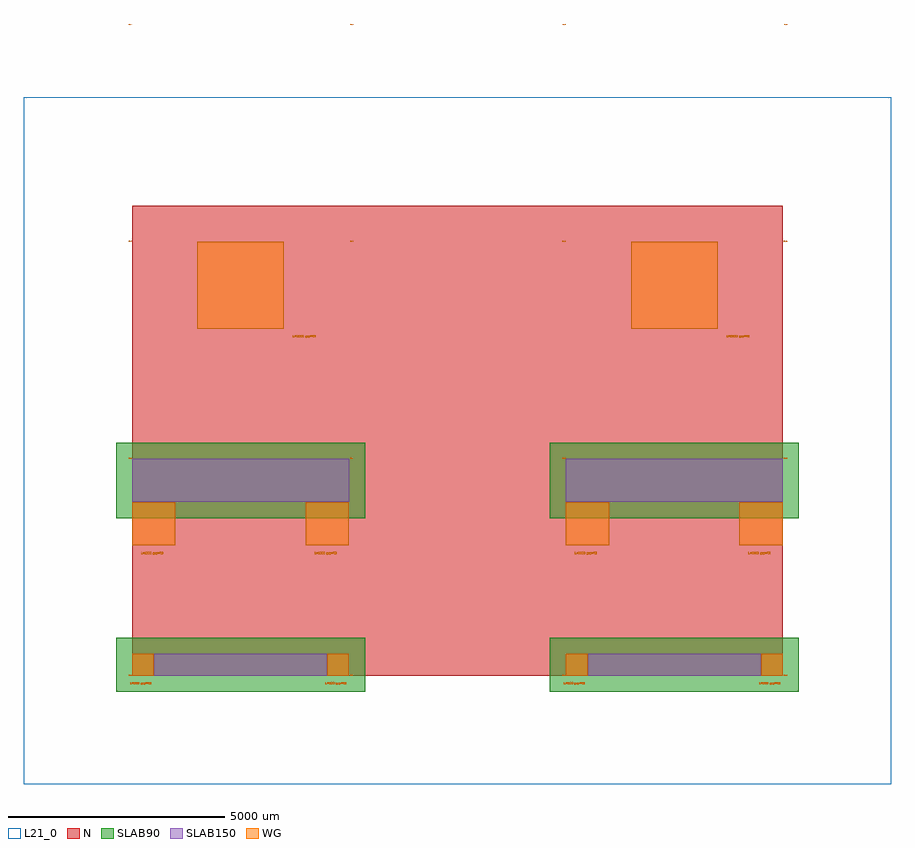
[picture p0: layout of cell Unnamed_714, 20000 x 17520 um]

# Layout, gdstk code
import gdstk
lib = gdstk.Library(unit=1e-6, precision=1e-09)
def R(c, l, rs):  # rectangles x0, y0, x1, y1
    for r in rs: c.add(gdstk.rectangle(r[:2], r[2:], *l))
def A(c, l, x, y, w, h, nx, ny, dx, dy):  # array of equal rectangles
    R(c, l, [(x+i*dx, y+j*dy, x+i*dx+w, y+j*dy+h) for i in range(nx) for j in range(ny)])
def P(c, l, *ps):  # polygons
    for p in ps: c.add(gdstk.Polygon(p, *l))
WG = (1, 0)
SLAB150 = (2, 0)
SLAB90 = (3, 0)
N = (20, 0)
L21_0 = (21, 0)

rectangle_s15000_10830__ = lib.new_cell('rectangle_S15000_10830__cd2686a7')
R(rectangle_s15000_10830__, N, [(0,0,15000,10830)])

rectangle_s20000_15830__ = lib.new_cell('rectangle_S20000_15830__41eada1f')
R(rectangle_s20000_15830__, L21_0, [(0,0,20000,15830)])

text_tdml_4_s20_p0_0_jle = lib.new_cell('text_TDML_4_S20_P0_0_Jleft_L1_0')
P(text_tdml_4_s20_p0_0_jle, WG, [(36,0),(36,20),(40,20),(40,4),(50,4),(50,0)],
  [(70,0),(70,6),(62,6),(62,20),(66,20),(66,10),(70,10),(70,20),(74,20),(74,10),(76,10),(76,6),(74,6),(74,0)],
  [(18,0),(18,20),(22,20),(26,14),(30,20),(34,20),(34,0),(30,0),(30,12),(26,6),(22,12),(22,0)],
  [(2,0),(2,8),(6,8),(6,4),(10,4),(12,6),(12,14),(10,16),(6,16),(6,12),(2,12),(2,20),(12,20),(16,16),(16,4),(12,0)])

unnamed_729 = lib.new_cell('Unnamed_729')
unnamed_729.add(gdstk.Reference(text_tdml_4_s20_p0_0_jle, (-85,0)))
unnamed_729.add(gdstk.Reference(text_tdml_4_s20_p0_0_jle, (5020,0)))
unnamed_729.add(gdstk.Reference(text_tdml_4_s20_p0_0_jle, (-85,5000)))
unnamed_729.add(gdstk.Reference(text_tdml_4_s20_p0_0_jle, (5020,5000)))

text_tdml_3_s20_p0_0_jle = lib.new_cell('text_TDML_3_S20_P0_0_Jleft_L1_0')
P(text_tdml_3_s20_p0_0_jle, WG, [(36,0),(36,20),(40,20),(40,4),(50,4),(50,0)],
  [(66,0),(62,4),(62,6),(66,6),(68,4),(70,4),(72,6),(70,8),(70,12),(72,14),(70,16),(68,16),(66,14),(62,14),(62,16),(66,20),(72,20),(76,16),(76,12),(74,10),(76,8),(76,4),(72,0)],
  [(18,0),(18,20),(22,20),(26,14),(30,20),(34,20),(34,0),(30,0),(30,12),(26,6),(22,12),(22,0)],
  [(2,0),(2,8),(6,8),(6,4),(10,4),(12,6),(12,14),(10,16),(6,16),(6,12),(2,12),(2,20),(12,20),(16,16),(16,4),(12,0)])

unnamed_728 = lib.new_cell('Unnamed_728')
unnamed_728.add(gdstk.Reference(text_tdml_3_s20_p0_0_jle, (-85,0)))
unnamed_728.add(gdstk.Reference(text_tdml_3_s20_p0_0_jle, (5020,0)))
unnamed_728.add(gdstk.Reference(text_tdml_3_s20_p0_0_jle, (-85,5000)))
unnamed_728.add(gdstk.Reference(text_tdml_3_s20_p0_0_jle, (5020,5000)))

text_tdml_2_s20_p0_0_jle = lib.new_cell('text_TDML_2_S20_P0_0_Jleft_L1_0')
P(text_tdml_2_s20_p0_0_jle, WG, [(36,0),(36,20),(40,20),(40,4),(50,4),(50,0)],
  [(18,0),(18,20),(22,20),(26,14),(30,20),(34,20),(34,0),(30,0),(30,12),(26,6),(22,12),(22,0)],
  [(62,0),(62,4),(72,14),(72,16),(66,16),(66,14),(62,14),(62,18),(64,20),(74,20),(76,18),(76,12),(68,4),(76,4),(76,0)],
  [(2,0),(2,8),(6,8),(6,4),(10,4),(12,6),(12,14),(10,16),(6,16),(6,12),(2,12),(2,20),(12,20),(16,16),(16,4),(12,0)])

unnamed_727 = lib.new_cell('Unnamed_727')
unnamed_727.add(gdstk.Reference(text_tdml_2_s20_p0_0_jle, (-85,0)))
unnamed_727.add(gdstk.Reference(text_tdml_2_s20_p0_0_jle, (5020,0)))
unnamed_727.add(gdstk.Reference(text_tdml_2_s20_p0_0_jle, (-85,5000)))
unnamed_727.add(gdstk.Reference(text_tdml_2_s20_p0_0_jle, (5020,5000)))

text_tdml_1_s20_p0_0_jle = lib.new_cell('text_TDML_1_S20_P0_0_Jleft_L1_0')
P(text_tdml_1_s20_p0_0_jle, WG, [(62,0),(62,4),(64,4),(64,12),(62,12),(62,16),(66,20),(68,20),(68,4),(70,4),(70,0)],
  [(36,0),(36,20),(40,20),(40,4),(50,4),(50,0)],
  [(18,0),(18,20),(22,20),(26,14),(30,20),(34,20),(34,0),(30,0),(30,12),(26,6),(22,12),(22,0)],
  [(2,0),(2,8),(6,8),(6,4),(10,4),(12,6),(12,14),(10,16),(6,16),(6,12),(2,12),(2,20),(12,20),(16,16),(16,4),(12,0)])

unnamed_726 = lib.new_cell('Unnamed_726')
unnamed_726.add(gdstk.Reference(text_tdml_1_s20_p0_0_jle, (-85,0)))
unnamed_726.add(gdstk.Reference(text_tdml_1_s20_p0_0_jle, (5020,0)))
unnamed_726.add(gdstk.Reference(text_tdml_1_s20_p0_0_jle, (-85,5000)))
unnamed_726.add(gdstk.Reference(text_tdml_1_s20_p0_0_jle, (5020,5000)))

unnamed_725 = lib.new_cell('Unnamed_725')
unnamed_725.add(gdstk.Reference(unnamed_729, (10000,10000)))
unnamed_725.add(gdstk.Reference(unnamed_728, (0,10000)))
unnamed_725.add(gdstk.Reference(unnamed_727, (10000,0)))
unnamed_725.add(gdstk.Reference(unnamed_726, (0,0)))

rectangle_s5743p44_1741_ = lib.new_cell('rectangle_S5743p44_1741_03ee2668')
R(rectangle_s5743p44_1741_, SLAB90, [(0,0,5743.44,1741.44)])

rectangle_s5743p44_1241_ = lib.new_cell('rectangle_S5743p44_1241_c6762c0d')
R(rectangle_s5743p44_1241_, SLAB90, [(0,0,5743.44,1241.44)])

unnamed_723 = lib.new_cell('Unnamed_723')
unnamed_723.add(gdstk.Reference(rectangle_s5743p44_1741_, (0,4002)))
unnamed_723.add(gdstk.Reference(rectangle_s5743p44_1241_, (0,0)))

unnamed_722 = lib.new_cell('Unnamed_722')
unnamed_722.add(gdstk.Reference(rectangle_s5743p44_1741_, (0,4002)))
unnamed_722.add(gdstk.Reference(rectangle_s5743p44_1241_, (0,0)))

unnamed_721 = lib.new_cell('Unnamed_721')
unnamed_721.add(gdstk.Reference(unnamed_723, (9628.28,-371.72)))
unnamed_721.add(gdstk.Reference(unnamed_722, (-371.72,-371.72)))

unnamed_732 = lib.new_cell('Unnamed_732')
R(unnamed_732, WG, [(-5,-190,35,-180), (315,-190,355,-180), (4495,-190,4535,-180), (4815,-190,4855,-180), (9995,-190,10035,-180), (10315,-190,10355,-180), (14495,-190,14535,-180), (14815,-190,14855,-180), (-5,-170,35,-160), (315,-170,355,-160), (4495,-170,4535,-160), (4815,-170,4855,-160), (9995,-170,10035,-160), (10315,-170,10355,-160), (14495,-170,14535,-160), (14815,-170,14855,-160), (245,2812,285,2822), (595,2812,635,2822), (4245,2812,4285,2822), (4595,2812,4635,2822), (10245,2812,10285,2822), (10595,2812,10635,2822), (14245,2812,14285,2822), (14595,2812,14635,2822), (245,2832,285,2842), (595,2832,635,2842), (4245,2832,4285,2842), (4595,2832,4635,2842), (10245,2832,10285,2842), (10595,2832,10635,2842), (14245,2832,14285,2842), (14595,2832,14635,2842), (3745,7810,3785,7820), (4110,7810,4150,7820), (13745,7810,13785,7820), (14110,7810,14150,7820), (3745,7830,3785,7840), (4110,7830,4150,7840), (13745,7830,13785,7840), (14110,7830,14150,7840)])
P(unnamed_732, WG, [(45,-200),(40,-195),(40,-185),(50,-185),(50,-190),(65,-190),(65,-180),(45,-180),(40,-175),(40,-150),(75,-150),(75,-160),(50,-160),(50,-170),(70,-170),(75,-175),(75,-195),(70,-200)],
  [(4545,-200),(4540,-195),(4540,-185),(4550,-185),(4550,-190),(4565,-190),(4565,-180),(4545,-180),(4540,-175),(4540,-150),(4575,-150),(4575,-160),(4550,-160),(4550,-170),(4570,-170),(4575,-175),(4575,-195),(4570,-200)],
  [(10045,-200),(10040,-195),(10040,-185),(10050,-185),(10050,-190),(10065,-190),(10065,-180),(10045,-180),(10040,-175),(10040,-150),(10075,-150),(10075,-160),(10050,-160),(10050,-170),(10070,-170),(10075,-175),(10075,-195),(10070,-200)],
  [(14545,-200),(14540,-195),(14540,-185),(14550,-185),(14550,-190),(14565,-190),(14565,-180),(14545,-180),(14540,-175),(14540,-150),(14575,-150),(14575,-160),(14550,-160),(14550,-170),(14570,-170),(14575,-175),(14575,-195),(14570,-200)],
  [(3790,7800),(3790,7810),(3815,7835),(3815,7840),(3800,7840),(3800,7835),(3790,7835),(3790,7845),(3795,7850),(3820,7850),(3825,7845),(3825,7830),(3805,7810),(3825,7810),(3825,7800)],
  [(13790,7800),(13790,7810),(13815,7835),(13815,7840),(13800,7840),(13800,7835),(13790,7835),(13790,7845),(13795,7850),(13820,7850),(13825,7845),(13825,7830),(13805,7810),(13825,7810),(13825,7800)],
  [(525,2802),(515,2812),(515,2827),(526.7,2837),(540,2837),(540,2840.75),(550,2840.75),(550,2822),(540,2822),(540,2827),(530,2827),(525,2822),(525,2817),(530,2812),(540,2812),(540,2817),(550,2817),(550,2802)],
  [(4525,2802),(4515,2812),(4515,2827),(4526.7,2837),(4540,2837),(4540,2840.75),(4550,2840.75),(4550,2822),(4540,2822),(4540,2827),(4530,2827),(4525,2822),(4525,2817),(4530,2812),(4540,2812),(4540,2817),(4550,2817),(4550,2802)],
  [(10525,2802),(10515,2812),(10515,2827),(10526.7,2837),(10540,2837),(10540,2840.75),(10550,2840.75),(10550,2822),(10540,2822),(10540,2827),(10530,2827),(10525,2822),(10525,2817),(10530,2812),(10540,2812),(10540,2817),(10550,2817),(10550,2802)],
  [(14525,2802),(14515,2812),(14515,2827),(14526.7,2837),(14540,2837),(14540,2840.75),(14550,2840.75),(14550,2822),(14540,2822),(14540,2827),(14530,2827),(14525,2822),(14525,2817),(14530,2812),(14540,2812),(14540,2817),(14550,2817),(14550,2802)],
  [(245,-200),(235,-190),(235,-175),(246.7,-165),(260,-165),(260,-161.25),(270,-161.25),(270,-180),(260,-180),(260,-175),(250,-175),(245,-180),(245,-185),(250,-190),(260,-190),(260,-185),(270,-185),(270,-200)],
  [(4745,-200),(4735,-190),(4735,-175),(4746.7,-165),(4760,-165),(4760,-161.25),(4770,-161.25),(4770,-180),(4760,-180),(4760,-175),(4750,-175),(4745,-180),(4745,-185),(4750,-190),(4760,-190),(4760,-185),(4770,-185),(4770,-200)],
  [(10245,-200),(10235,-190),(10235,-175),(10246.7,-165),(10260,-165),(10260,-161.25),(10270,-161.25),(10270,-180),(10260,-180),(10260,-175),(10250,-175),(10245,-180),(10245,-185),(10250,-190),(10260,-190),(10260,-185),(10270,-185),(10270,-200)],
  [(14745,-200),(14735,-190),(14735,-175),(14746.7,-165),(14760,-165),(14760,-161.25),(14770,-161.25),(14770,-180),(14760,-180),(14760,-175),(14750,-175),(14745,-180),(14745,-185),(14750,-190),(14760,-190),(14760,-185),(14770,-185),(14770,-200)],
  [(4040,7800),(4030,7810),(4030,7825),(4041.7,7835),(4055,7835),(4055,7838.75),(4065,7838.75),(4065,7820),(4055,7820),(4055,7825),(4045,7825),(4040,7820),(4040,7815),(4045,7810),(4055,7810),(4055,7815),(4065,7815),(4065,7800)],
  [(14040,7800),(14030,7810),(14030,7825),(14041.7,7835),(14055,7835),(14055,7838.75),(14065,7838.75),(14065,7820),(14055,7820),(14055,7825),(14045,7825),(14040,7820),(14040,7815),(14045,7810),(14055,7810),(14055,7815),(14065,7815),(14065,7800)],
  [(485,2787),(475,2797),(500,2797),(500,2802),(486.7,2802),(475,2812),(475,2827),(485,2837),(510,2837),(510,2822),(500,2822),(500,2827),(490,2827),(485,2822),(485,2817),(490,2812),(500,2812),(500,2817),(510,2817),(510,2792),(505,2787)],
  [(4485,2787),(4475,2797),(4500,2797),(4500,2802),(4486.7,2802),(4475,2812),(4475,2827),(4485,2837),(4510,2837),(4510,2822),(4500,2822),(4500,2827),(4490,2827),(4485,2822),(4485,2817),(4490,2812),(4500,2812),(4500,2817),(4510,2817),(4510,2792),(4505,2787)],
  [(10485,2787),(10475,2797),(10500,2797),(10500,2802),(10486.7,2802),(10475,2812),(10475,2827),(10485,2837),(10510,2837),(10510,2822),(10500,2822),(10500,2827),(10490,2827),(10485,2822),(10485,2817),(10490,2812),(10500,2812),(10500,2817),(10510,2817),(10510,2792),(10505,2787)],
  [(14485,2787),(14475,2797),(14500,2797),(14500,2802),(14486.7,2802),(14475,2812),(14475,2827),(14485,2837),(14510,2837),(14510,2822),(14500,2822),(14500,2827),(14490,2827),(14485,2822),(14485,2817),(14490,2812),(14500,2812),(14500,2817),(14510,2817),(14510,2792),(14505,2787)],
  [(205,-215),(195,-205),(220,-205),(220,-200),(206.7,-200),(195,-190),(195,-175),(205,-165),(230,-165),(230,-180),(220,-180),(220,-175),(210,-175),(205,-180),(205,-185),(210,-190),(220,-190),(220,-185),(230,-185),(230,-210),(225,-215)],
  [(4705,-215),(4695,-205),(4720,-205),(4720,-200),(4706.7,-200),(4695,-190),(4695,-175),(4705,-165),(4730,-165),(4730,-180),(4720,-180),(4720,-175),(4710,-175),(4705,-180),(4705,-185),(4710,-190),(4720,-190),(4720,-185),(4730,-185),(4730,-210),(4725,-215)],
  [(10205,-215),(10195,-205),(10220,-205),(10220,-200),(10206.7,-200),(10195,-190),(10195,-175),(10205,-165),(10230,-165),(10230,-180),(10220,-180),(10220,-175),(10210,-175),(10205,-180),(10205,-185),(10210,-190),(10220,-190),(10220,-185),(10230,-185),(10230,-210),(10225,-215)],
  [(14705,-215),(14695,-205),(14720,-205),(14720,-200),(14706.7,-200),(14695,-190),(14695,-175),(14705,-165),(14730,-165),(14730,-180),(14720,-180),(14720,-175),(14710,-175),(14705,-180),(14705,-185),(14710,-190),(14720,-190),(14720,-185),(14730,-185),(14730,-210),(14725,-215)],
  [(4000,7785),(3990,7795),(4015,7795),(4015,7800),(4001.7,7800),(3990,7810),(3990,7825),(4000,7835),(4025,7835),(4025,7820),(4015,7820),(4015,7825),(4005,7825),(4000,7820),(4000,7815),(4005,7810),(4015,7810),(4015,7815),(4025,7815),(4025,7790),(4020,7785)],
  [(14000,7785),(13990,7795),(14015,7795),(14015,7800),(14001.7,7800),(13990,7810),(13990,7825),(14000,7835),(14025,7835),(14025,7820),(14015,7820),(14015,7825),(14005,7825),(14000,7820),(14000,7815),(14005,7810),(14015,7810),(14015,7815),(14025,7815),(14025,7790),(14020,7785)],
  [(685,2802),(680,2807),(680,2822),(685,2827),(680,2832),(680,2847),(685,2852),(695,2852),(695,2842),(690,2842),(690,2832),(705,2832),(705,2842),(700,2842),(700,2852),(710,2852),(715,2847),(715,2832),(710,2827),(715,2822),(715,2807),(710,2802),(700,2802),(700,2812),(705,2812),(705,2822),(690,2822),(690,2812),(695,2812),(695,2802)],
  [(4685,2802),(4680,2807),(4680,2822),(4685,2827),(4680,2832),(4680,2847),(4685,2852),(4695,2852),(4695,2842),(4690,2842),(4690,2832),(4705,2832),(4705,2842),(4700,2842),(4700,2852),(4710,2852),(4715,2847),(4715,2832),(4710,2827),(4715,2822),(4715,2807),(4710,2802),(4700,2802),(4700,2812),(4705,2812),(4705,2822),(4690,2822),(4690,2812),(4695,2812),(4695,2802)],
  [(10685,2802),(10680,2807),(10680,2822),(10685,2827),(10680,2832),(10680,2847),(10685,2852),(10695,2852),(10695,2842),(10690,2842),(10690,2832),(10705,2832),(10705,2842),(10700,2842),(10700,2852),(10710,2852),(10715,2847),(10715,2832),(10710,2827),(10715,2822),(10715,2807),(10710,2802),(10700,2802),(10700,2812),(10705,2812),(10705,2822),(10690,2822),(10690,2812),(10695,2812),(10695,2802)],
  [(14685,2802),(14680,2807),(14680,2822),(14685,2827),(14680,2832),(14680,2847),(14685,2852),(14695,2852),(14695,2842),(14690,2842),(14690,2832),(14705,2832),(14705,2842),(14700,2842),(14700,2852),(14710,2852),(14715,2847),(14715,2832),(14710,2827),(14715,2822),(14715,2807),(14710,2802),(14700,2802),(14700,2812),(14705,2812),(14705,2822),(14690,2822),(14690,2812),(14695,2812),(14695,2802)],
  [(405,-200),(400,-195),(400,-180),(405,-175),(400,-170),(400,-155),(405,-150),(415,-150),(415,-160),(410,-160),(410,-170),(425,-170),(425,-160),(420,-160),(420,-150),(430,-150),(435,-155),(435,-170),(430,-175),(435,-180),(435,-195),(430,-200),(420,-200),(420,-190),(425,-190),(425,-180),(410,-180),(410,-190),(415,-190),(415,-200)],
  [(4905,-200),(4900,-195),(4900,-180),(4905,-175),(4900,-170),(4900,-155),(4905,-150),(4915,-150),(4915,-160),(4910,-160),(4910,-170),(4925,-170),(4925,-160),(4920,-160),(4920,-150),(4930,-150),(4935,-155),(4935,-170),(4930,-175),(4935,-180),(4935,-195),(4930,-200),(4920,-200),(4920,-190),(4925,-190),(4925,-180),(4910,-180),(4910,-190),(4915,-190),(4915,-200)],
  [(10405,-200),(10400,-195),(10400,-180),(10405,-175),(10400,-170),(10400,-155),(10405,-150),(10415,-150),(10415,-160),(10410,-160),(10410,-170),(10425,-170),(10425,-160),(10420,-160),(10420,-150),(10430,-150),(10435,-155),(10435,-170),(10430,-175),(10435,-180),(10435,-195),(10430,-200),(10420,-200),(10420,-190),(10425,-190),(10425,-180),(10410,-180),(10410,-190),(10415,-190),(10415,-200)],
  [(14905,-200),(14900,-195),(14900,-180),(14905,-175),(14900,-170),(14900,-155),(14905,-150),(14915,-150),(14915,-160),(14910,-160),(14910,-170),(14925,-170),(14925,-160),(14920,-160),(14920,-150),(14930,-150),(14935,-155),(14935,-170),(14930,-175),(14935,-180),(14935,-195),(14930,-200),(14920,-200),(14920,-190),(14925,-190),(14925,-180),(14910,-180),(14910,-190),(14915,-190),(14915,-200)],
  [(4200,7800),(4195,7805),(4195,7820),(4200,7825),(4195,7830),(4195,7845),(4200,7850),(4210,7850),(4210,7840),(4205,7840),(4205,7830),(4220,7830),(4220,7840),(4215,7840),(4215,7850),(4225,7850),(4230,7845),(4230,7830),(4225,7825),(4230,7820),(4230,7805),(4225,7800),(4215,7800),(4215,7810),(4220,7810),(4220,7820),(4205,7820),(4205,7810),(4210,7810),(4210,7800)],
  [(14200,7800),(14195,7805),(14195,7820),(14200,7825),(14195,7830),(14195,7845),(14200,7850),(14210,7850),(14210,7840),(14205,7840),(14205,7830),(14220,7830),(14220,7840),(14215,7840),(14215,7850),(14225,7850),(14230,7845),(14230,7830),(14225,7825),(14230,7820),(14230,7805),(14225,7800),(14215,7800),(14215,7810),(14220,7810),(14220,7820),(14205,7820),(14205,7810),(14210,7810),(14210,7800)],
  [(98.5,-200),(101,-190),(105,-190),(110,-185),(110,-165),(105,-160),(107.5,-150),(110,-150),(120,-160),(120,-190),(110,-200)],
  [(143.5,-200),(146,-190),(150,-190),(155,-185),(155,-165),(150,-160),(152.5,-150),(155,-150),(165,-160),(165,-190),(155,-200)],
  [(4598.5,-200),(4601,-190),(4605,-190),(4610,-185),(4610,-165),(4605,-160),(4607.5,-150),(4610,-150),(4620,-160),(4620,-190),(4610,-200)],
  [(4643.5,-200),(4646,-190),(4650,-190),(4655,-185),(4655,-165),(4650,-160),(4652.5,-150),(4655,-150),(4665,-160),(4665,-190),(4655,-200)],
  [(10098.5,-200),(10101,-190),(10105,-190),(10110,-185),(10110,-165),(10105,-160),(10107.5,-150),(10110,-150),(10120,-160),(10120,-190),(10110,-200)],
  [(10143.5,-200),(10146,-190),(10150,-190),(10155,-185),(10155,-165),(10150,-160),(10152.5,-150),(10155,-150),(10165,-160),(10165,-190),(10155,-200)],
  [(14598.5,-200),(14601,-190),(14605,-190),(14610,-185),(14610,-165),(14605,-160),(14607.5,-150),(14610,-150),(14620,-160),(14620,-190),(14610,-200)],
  [(14643.5,-200),(14646,-190),(14650,-190),(14655,-185),(14655,-165),(14650,-160),(14652.5,-150),(14655,-150),(14665,-160),(14665,-190),(14655,-200)],
  [(333.5,2802),(336,2812),(340,2812),(345,2817),(345,2837),(340,2842),(342.5,2852),(345,2852),(355,2842),(355,2812),(345,2802)],
  [(378.5,2802),(381,2812),(385,2812),(390,2817),(390,2837),(385,2842),(387.5,2852),(390,2852),(400,2842),(400,2812),(390,2802)],
  [(423.5,2802),(426,2812),(430,2812),(435,2817),(435,2837),(430,2842),(432.5,2852),(435,2852),(445,2842),(445,2812),(435,2802)],
  [(4333.5,2802),(4336,2812),(4340,2812),(4345,2817),(4345,2837),(4340,2842),(4342.5,2852),(4345,2852),(4355,2842),(4355,2812),(4345,2802)],
  [(4378.5,2802),(4381,2812),(4385,2812),(4390,2817),(4390,2837),(4385,2842),(4387.5,2852),(4390,2852),(4400,2842),(4400,2812),(4390,2802)],
  [(4423.5,2802),(4426,2812),(4430,2812),(4435,2817),(4435,2837),(4430,2842),(4432.5,2852),(4435,2852),(4445,2842),(4445,2812),(4435,2802)],
  [(10333.5,2802),(10336,2812),(10340,2812),(10345,2817),(10345,2837),(10340,2842),(10342.5,2852),(10345,2852),(10355,2842),(10355,2812),(10345,2802)],
  [(10378.5,2802),(10381,2812),(10385,2812),(10390,2817),(10390,2837),(10385,2842),(10387.5,2852),(10390,2852),(10400,2842),(10400,2812),(10390,2802)],
  [(10423.5,2802),(10426,2812),(10430,2812),(10435,2817),(10435,2837),(10430,2842),(10432.5,2852),(10435,2852),(10445,2842),(10445,2812),(10435,2802)],
  [(14333.5,2802),(14336,2812),(14340,2812),(14345,2817),(14345,2837),(14340,2842),(14342.5,2852),(14345,2852),(14355,2842),(14355,2812),(14345,2802)],
  [(14378.5,2802),(14381,2812),(14385,2812),(14390,2817),(14390,2837),(14385,2842),(14387.5,2852),(14390,2852),(14400,2842),(14400,2812),(14390,2802)],
  [(14423.5,2802),(14426,2812),(14430,2812),(14435,2817),(14435,2837),(14430,2842),(14432.5,2852),(14435,2852),(14445,2842),(14445,2812),(14435,2802)],
  [(3848.5,7800),(3851,7810),(3855,7810),(3860,7815),(3860,7835),(3855,7840),(3857.5,7850),(3860,7850),(3870,7840),(3870,7810),(3860,7800)],
  [(3893.5,7800),(3896,7810),(3900,7810),(3905,7815),(3905,7835),(3900,7840),(3902.5,7850),(3905,7850),(3915,7840),(3915,7810),(3905,7800)],
  [(3938.5,7800),(3941,7810),(3945,7810),(3950,7815),(3950,7835),(3945,7840),(3947.5,7850),(3950,7850),(3960,7840),(3960,7810),(3950,7800)],
  [(13848.5,7800),(13851,7810),(13855,7810),(13860,7815),(13860,7835),(13855,7840),(13857.5,7850),(13860,7850),(13870,7840),(13870,7810),(13860,7800)],
  [(13893.5,7800),(13896,7810),(13900,7810),(13905,7815),(13905,7835),(13900,7840),(13902.5,7850),(13905,7850),(13915,7840),(13915,7810),(13905,7800)],
  [(13938.5,7800),(13941,7810),(13945,7810),(13950,7815),(13950,7835),(13945,7840),(13947.5,7850),(13950,7850),(13960,7840),(13960,7810),(13950,7800)],
  [(660,2802),(660,2817),(640,2817),(640,2852),(650,2852),(650,2827),(660,2827),(660,2852),(670,2852),(670,2827),(675,2827),(675,2817),(670,2817),(670,2802)],
  [(4660,2802),(4660,2817),(4640,2817),(4640,2852),(4650,2852),(4650,2827),(4660,2827),(4660,2852),(4670,2852),(4670,2827),(4675,2827),(4675,2817),(4670,2817),(4670,2802)],
  [(10660,2802),(10660,2817),(10640,2817),(10640,2852),(10650,2852),(10650,2827),(10660,2827),(10660,2852),(10670,2852),(10670,2827),(10675,2827),(10675,2817),(10670,2817),(10670,2802)],
  [(14660,2802),(14660,2817),(14640,2817),(14640,2852),(14650,2852),(14650,2827),(14660,2827),(14660,2852),(14670,2852),(14670,2827),(14675,2827),(14675,2817),(14670,2817),(14670,2802)],
  [(380,-200),(380,-185),(360,-185),(360,-150),(370,-150),(370,-175),(380,-175),(380,-150),(390,-150),(390,-175),(395,-175),(395,-185),(390,-185),(390,-200)],
  [(4880,-200),(4880,-185),(4860,-185),(4860,-150),(4870,-150),(4870,-175),(4880,-175),(4880,-150),(4890,-150),(4890,-175),(4895,-175),(4895,-185),(4890,-185),(4890,-200)],
  [(10380,-200),(10380,-185),(10360,-185),(10360,-150),(10370,-150),(10370,-175),(10380,-175),(10380,-150),(10390,-150),(10390,-175),(10395,-175),(10395,-185),(10390,-185),(10390,-200)],
  [(14880,-200),(14880,-185),(14860,-185),(14860,-150),(14870,-150),(14870,-175),(14880,-175),(14880,-150),(14890,-150),(14890,-175),(14895,-175),(14895,-185),(14890,-185),(14890,-200)],
  [(4175,7800),(4175,7815),(4155,7815),(4155,7850),(4165,7850),(4165,7825),(4175,7825),(4175,7850),(4185,7850),(4185,7825),(4190,7825),(4190,7815),(4185,7815),(4185,7800)],
  [(14175,7800),(14175,7815),(14155,7815),(14155,7850),(14165,7850),(14165,7825),(14175,7825),(14175,7850),(14185,7850),(14185,7825),(14190,7825),(14190,7815),(14185,7815),(14185,7800)],
  [(555,2787),(555,2817),(565,2817),(565,2812),(575,2812),(580,2817),(580,2822),(575,2827),(565,2827),(565,2822),(555,2822),(555,2837),(580,2837),(590,2827),(590,2812),(580,2802),(565,2802),(565,2787)],
  [(4555,2787),(4555,2817),(4565,2817),(4565,2812),(4575,2812),(4580,2817),(4580,2822),(4575,2827),(4565,2827),(4565,2822),(4555,2822),(4555,2837),(4580,2837),(4590,2827),(4590,2812),(4580,2802),(4565,2802),(4565,2787)],
  [(10555,2787),(10555,2817),(10565,2817),(10565,2812),(10575,2812),(10580,2817),(10580,2822),(10575,2827),(10565,2827),(10565,2822),(10555,2822),(10555,2837),(10580,2837),(10590,2827),(10590,2812),(10580,2802),(10565,2802),(10565,2787)],
  [(14555,2787),(14555,2817),(14565,2817),(14565,2812),(14575,2812),(14580,2817),(14580,2822),(14575,2827),(14565,2827),(14565,2822),(14555,2822),(14555,2837),(14580,2837),(14590,2827),(14590,2812),(14580,2802),(14565,2802),(14565,2787)],
  [(275,-215),(275,-185),(285,-185),(285,-190),(295,-190),(300,-185),(300,-180),(295,-175),(285,-175),(285,-180),(275,-180),(275,-165),(300,-165),(310,-175),(310,-190),(300,-200),(285,-200),(285,-215)],
  [(4775,-215),(4775,-185),(4785,-185),(4785,-190),(4795,-190),(4800,-185),(4800,-180),(4795,-175),(4785,-175),(4785,-180),(4775,-180),(4775,-165),(4800,-165),(4810,-175),(4810,-190),(4800,-200),(4785,-200),(4785,-215)],
  [(10275,-215),(10275,-185),(10285,-185),(10285,-190),(10295,-190),(10300,-185),(10300,-180),(10295,-175),(10285,-175),(10285,-180),(10275,-180),(10275,-165),(10300,-165),(10310,-175),(10310,-190),(10300,-200),(10285,-200),(10285,-215)],
  [(14775,-215),(14775,-185),(14785,-185),(14785,-190),(14795,-190),(14800,-185),(14800,-180),(14795,-175),(14785,-175),(14785,-180),(14775,-180),(14775,-165),(14800,-165),(14810,-175),(14810,-190),(14800,-200),(14785,-200),(14785,-215)],
  [(4070,7785),(4070,7815),(4080,7815),(4080,7810),(4090,7810),(4095,7815),(4095,7820),(4090,7825),(4080,7825),(4080,7820),(4070,7820),(4070,7835),(4095,7835),(4105,7825),(4105,7810),(4095,7800),(4080,7800),(4080,7785)],
  [(14070,7785),(14070,7815),(14080,7815),(14080,7810),(14090,7810),(14095,7815),(14095,7820),(14090,7825),(14080,7825),(14080,7820),(14070,7820),(14070,7835),(14095,7835),(14105,7825),(14105,7810),(14095,7800),(14080,7800),(14080,7785)],
  [(205,2802),(205,2852),(215,2852),(215,2812),(240,2812),(240,2802)],
  [(4205,2802),(4205,2852),(4215,2852),(4215,2812),(4240,2812),(4240,2802)],
  [(10205,2802),(10205,2852),(10215,2852),(10215,2812),(10240,2812),(10240,2802)],
  [(14205,2802),(14205,2852),(14215,2852),(14215,2812),(14240,2812),(14240,2802)],
  [(-45,-200),(-45,-150),(-35,-150),(-35,-190),(-10,-190),(-10,-200)],
  [(4455,-200),(4455,-150),(4465,-150),(4465,-190),(4490,-190),(4490,-200)],
  [(9955,-200),(9955,-150),(9965,-150),(9965,-190),(9990,-190),(9990,-200)],
  [(14455,-200),(14455,-150),(14465,-150),(14465,-190),(14490,-190),(14490,-200)],
  [(3705,7800),(3705,7850),(3715,7850),(3715,7810),(3740,7810),(3740,7800)],
  [(13705,7800),(13705,7850),(13715,7850),(13715,7810),(13740,7810),(13740,7800)],
  [(290,2802),(290,2812),(295,2812),(295,2832),(290,2832),(290,2842),(300,2852),(305,2852),(305,2812),(310,2812),(310,2802)],
  [(4290,2802),(4290,2812),(4295,2812),(4295,2832),(4290,2832),(4290,2842),(4300,2852),(4305,2852),(4305,2812),(4310,2812),(4310,2802)],
  [(10290,2802),(10290,2812),(10295,2812),(10295,2832),(10290,2832),(10290,2842),(10300,2852),(10305,2852),(10305,2812),(10310,2812),(10310,2802)],
  [(14290,2802),(14290,2812),(14295,2812),(14295,2832),(14290,2832),(14290,2842),(14300,2852),(14305,2852),(14305,2812),(14310,2812),(14310,2802)],
  [(90,-200),(80,-190),(80,-160),(90,-150),(101.5,-150),(99,-160),(95,-160),(90,-165),(90,-185),(95,-190),(92.5,-200)],
  [(135,-200),(125,-190),(125,-160),(135,-150),(146.5,-150),(144,-160),(140,-160),(135,-165),(135,-185),(140,-190),(137.5,-200)],
  [(4590,-200),(4580,-190),(4580,-160),(4590,-150),(4601.5,-150),(4599,-160),(4595,-160),(4590,-165),(4590,-185),(4595,-190),(4592.5,-200)],
  [(4635,-200),(4625,-190),(4625,-160),(4635,-150),(4646.5,-150),(4644,-160),(4640,-160),(4635,-165),(4635,-185),(4640,-190),(4637.5,-200)],
  [(10090,-200),(10080,-190),(10080,-160),(10090,-150),(10101.5,-150),(10099,-160),(10095,-160),(10090,-165),(10090,-185),(10095,-190),(10092.5,-200)],
  [(10135,-200),(10125,-190),(10125,-160),(10135,-150),(10146.5,-150),(10144,-160),(10140,-160),(10135,-165),(10135,-185),(10140,-190),(10137.5,-200)],
  [(14590,-200),(14580,-190),(14580,-160),(14590,-150),(14601.5,-150),(14599,-160),(14595,-160),(14590,-165),(14590,-185),(14595,-190),(14592.5,-200)],
  [(14635,-200),(14625,-190),(14625,-160),(14635,-150),(14646.5,-150),(14644,-160),(14640,-160),(14635,-165),(14635,-185),(14640,-190),(14637.5,-200)],
  [(325,2802),(315,2812),(315,2842),(325,2852),(336.5,2852),(334,2842),(330,2842),(325,2837),(325,2817),(330,2812),(327.5,2802)],
  [(370,2802),(360,2812),(360,2842),(370,2852),(381.5,2852),(379,2842),(375,2842),(370,2837),(370,2817),(375,2812),(372.5,2802)],
  [(415,2802),(405,2812),(405,2842),(415,2852),(426.5,2852),(424,2842),(420,2842),(415,2837),(415,2817),(420,2812),(417.5,2802)],
  [(4325,2802),(4315,2812),(4315,2842),(4325,2852),(4336.5,2852),(4334,2842),(4330,2842),(4325,2837),(4325,2817),(4330,2812),(4327.5,2802)],
  [(4370,2802),(4360,2812),(4360,2842),(4370,2852),(4381.5,2852),(4379,2842),(4375,2842),(4370,2837),(4370,2817),(4375,2812),(4372.5,2802)],
  [(4415,2802),(4405,2812),(4405,2842),(4415,2852),(4426.5,2852),(4424,2842),(4420,2842),(4415,2837),(4415,2817),(4420,2812),(4417.5,2802)],
  [(10325,2802),(10315,2812),(10315,2842),(10325,2852),(10336.5,2852),(10334,2842),(10330,2842),(10325,2837),(10325,2817),(10330,2812),(10327.5,2802)],
  [(10370,2802),(10360,2812),(10360,2842),(10370,2852),(10381.5,2852),(10379,2842),(10375,2842),(10370,2837),(10370,2817),(10375,2812),(10372.5,2802)],
  [(10415,2802),(10405,2812),(10405,2842),(10415,2852),(10426.5,2852),(10424,2842),(10420,2842),(10415,2837),(10415,2817),(10420,2812),(10417.5,2802)],
  [(14325,2802),(14315,2812),(14315,2842),(14325,2852),(14336.5,2852),(14334,2842),(14330,2842),(14325,2837),(14325,2817),(14330,2812),(14327.5,2802)],
  [(14370,2802),(14360,2812),(14360,2842),(14370,2852),(14381.5,2852),(14379,2842),(14375,2842),(14370,2837),(14370,2817),(14375,2812),(14372.5,2802)],
  [(14415,2802),(14405,2812),(14405,2842),(14415,2852),(14426.5,2852),(14424,2842),(14420,2842),(14415,2837),(14415,2817),(14420,2812),(14417.5,2802)],
  [(3840,7800),(3830,7810),(3830,7840),(3840,7850),(3851.5,7850),(3849,7840),(3845,7840),(3840,7835),(3840,7815),(3845,7810),(3842.5,7800)],
  [(3885,7800),(3875,7810),(3875,7840),(3885,7850),(3896.5,7850),(3894,7840),(3890,7840),(3885,7835),(3885,7815),(3890,7810),(3887.5,7800)],
  [(3930,7800),(3920,7810),(3920,7840),(3930,7850),(3941.5,7850),(3939,7840),(3935,7840),(3930,7835),(3930,7815),(3935,7810),(3932.5,7800)],
  [(13840,7800),(13830,7810),(13830,7840),(13840,7850),(13851.5,7850),(13849,7840),(13845,7840),(13840,7835),(13840,7815),(13845,7810),(13842.5,7800)],
  [(13885,7800),(13875,7810),(13875,7840),(13885,7850),(13896.5,7850),(13894,7840),(13890,7840),(13885,7835),(13885,7815),(13890,7810),(13887.5,7800)],
  [(13930,7800),(13920,7810),(13920,7840),(13930,7850),(13941.5,7850),(13939,7840),(13935,7840),(13930,7835),(13930,7815),(13935,7810),(13932.5,7800)])

unnamed_731 = lib.new_cell('Unnamed_731')
A(unnamed_731, WG, 0, 0, 48, 48, 10, 10, 50, 50)
A(unnamed_731, WG, 4500, 0, 48, 48, 10, 10, 50, 50)
A(unnamed_731, WG, 10000, 0, 48, 48, 10, 10, 50, 50)
A(unnamed_731, WG, 14500, 0, 48, 48, 10, 10, 50, 50)
A(unnamed_731, WG, 0, 3002, 48, 48, 20, 20, 50, 50)
A(unnamed_731, WG, 4000, 3002, 48, 48, 20, 20, 50, 50)
A(unnamed_731, WG, 10000, 3002, 48, 48, 20, 20, 50, 50)
A(unnamed_731, WG, 14000, 3002, 48, 48, 20, 20, 50, 50)
A(unnamed_731, WG, 1500, 8000, 48, 48, 40, 40, 50, 50)
A(unnamed_731, WG, 11500, 8000, 48, 48, 40, 40, 50, 50)

unnamed_730 = lib.new_cell('Unnamed_730')
R(unnamed_730, SLAB150, [(500,0,4498,498), (10500,0,14498,498), (0,4002,5000,5000), (10000,4002,15000,5000)])

unnamed_714 = lib.new_cell('Unnamed_714')
unnamed_714.add(gdstk.Reference(rectangle_s15000_10830__, (0,0)))
unnamed_714.add(gdstk.Reference(rectangle_s20000_15830__, (-2500,-2500)))
unnamed_714.add(gdstk.Reference(unnamed_725, (0,0)))
unnamed_714.add(gdstk.Reference(unnamed_721, (0,0)))
unnamed_714.add(gdstk.Reference(unnamed_732, (0,0)))
unnamed_714.add(gdstk.Reference(unnamed_731, (0,0)))
unnamed_714.add(gdstk.Reference(unnamed_730, (0,0)))

lib.write_gds('Unnamed_714.gds')
